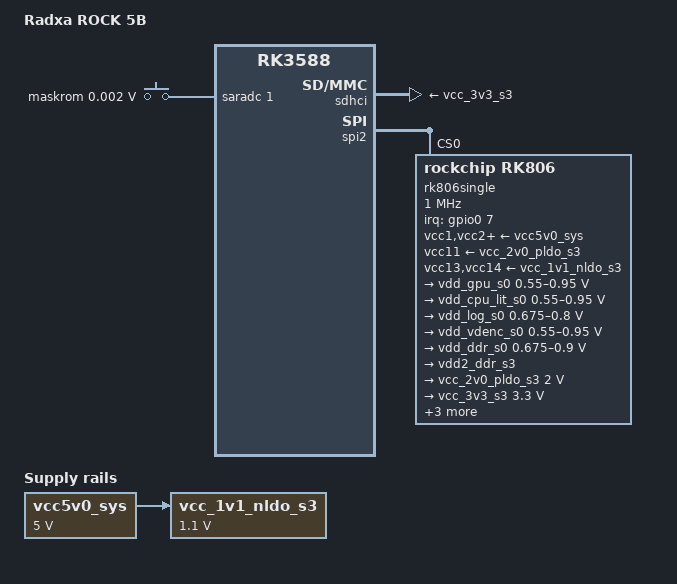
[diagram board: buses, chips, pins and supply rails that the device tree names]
// SPDX-License-Identifier: (GPL-2.0+ OR MIT)
/*
 * Copyright (c) 2022 Radxa Limited
 * Copyright (c) 2021 Rockchip Electronics Co., Ltd
 *
 */

/dts-v1/;
#include "rk3588.dtsi"
#include "rk3588-u-boot.dtsi"
#include <dt-bindings/input/input.h>

/ {
	model = "Radxa ROCK 5B";
	compatible = "radxa,rock-5b", "rockchip,rk3588";

	vcc5v0_sys: vcc5v0-sys-regulator {
		compatible = "regulator-fixed";
		regulator-name = "vcc5v0_sys";
		regulator-always-on;
		regulator-boot-on;
		regulator-min-microvolt = <5000000>;
		regulator-max-microvolt = <5000000>;
	};

	vcc_1v1_nldo_s3: vcc-1v1-nldo-s3-regulator {
		compatible = "regulator-fixed";
		regulator-name = "vcc_1v1_nldo_s3";
		regulator-always-on;
		regulator-boot-on;
		regulator-min-microvolt = <1100000>;
		regulator-max-microvolt = <1100000>;
		vin-supply = <&vcc5v0_sys>;
	};

	adc-keys {
		compatible = "adc-keys";
		io-channels = <&saradc 1>;
		io-channel-names = "buttons";
		keyup-threshold-microvolt = <1800000>;
		u-boot,dm-pre-reloc;
		status = "okay";

		maskrom-key {
			u-boot,dm-pre-reloc;
			linux,code = <KEY_VENDOR>;
			label = "maskrom";
			press-threshold-microvolt = <1750>;
		};
	};
};

&sdhci {
	vmmc-supply = <&vcc_3v3_s3>;
	vqmmc-supply = <&vccio_sd_s0>;
};

&spi2 {
	status = "okay";
	assigned-clocks = <&cru CLK_SPI2>;
	assigned-clock-rates = <200000000>;
	pinctrl-names = "default";
	pinctrl-0 = <&spi2m2_cs0 &spi2m2_pins>;
	num-cs = <1>;

	rk806single: rk806single@0 {
		compatible = "rockchip,rk806";
		spi-max-frequency = <1000000>;
		reg = <0x0>;
		u-boot,dm-pre-reloc;

		interrupt-parent = <&gpio0>;
		interrupts = <7 IRQ_TYPE_LEVEL_LOW>;

		pinctrl-names = "default", "pmic-power-off";
		pinctrl-0 = <&pmic_pins>, <&rk806_dvs1_null>,
			    <&rk806_dvs2_null>, <&rk806_dvs3_null>;
		pinctrl-1 = <&rk806_dvs1_pwrdn>;

		low_voltage_threshold = <3000>;
		shutdown_voltage_threshold = <2700>;
		shutdown_temperture_threshold = <160>;
		hotdie_temperture_threshold = <115>;
		pmic-reset-func = <1>;

		vcc1-supply = <&vcc5v0_sys>;
		vcc2-supply = <&vcc5v0_sys>;
		vcc3-supply = <&vcc5v0_sys>;
		vcc4-supply = <&vcc5v0_sys>;
		vcc5-supply = <&vcc5v0_sys>;
		vcc6-supply = <&vcc5v0_sys>;
		vcc7-supply = <&vcc5v0_sys>;
		vcc8-supply = <&vcc5v0_sys>;
		vcc9-supply = <&vcc5v0_sys>;
		vcc10-supply = <&vcc5v0_sys>;
		vcc11-supply = <&vcc_2v0_pldo_s3>;
		vcc12-supply = <&vcc5v0_sys>;
		vcc13-supply = <&vcc_1v1_nldo_s3>;
		vcc14-supply = <&vcc_1v1_nldo_s3>;
		vcca-supply = <&vcc5v0_sys>;

		pinctrl_rk806: pinctrl_rk806 {
			gpio-controller;
			#gpio-cells = <2>;

			rk806_dvs1_null: rk806_dvs1_null {
				pins = "gpio_pwrctrl2";
				function = "pin_fun0";
			};

			rk806_dvs1_pwrdn: rk806_dvs1_pwrdn {
				pins = "gpio_pwrctrl1";
				function = "pin_fun2";
			};

			rk806_dvs2_null: rk806_dvs2_null {
				pins = "gpio_pwrctrl2";
				function = "pin_fun0";
			};

			rk806_dvs3_null: rk806_dvs3_null {
				pins = "gpio_pwrctrl3";
				function = "pin_fun0";
			};
		};

		regulators {
			vdd_gpu_s0: vdd_gpu_mem_s0: DCDC_REG1 {
				regulator-boot-on;
				regulator-min-microvolt = <550000>;
				regulator-max-microvolt = <950000>;
				regulator-ramp-delay = <12500>;
				regulator-name = "vdd_gpu_s0";
				regulator-enable-ramp-delay = <400>;
				regulator-state-mem {
					regulator-off-in-suspend;
				};
			};

			vdd_cpu_lit_s0: vdd_cpu_lit_mem_s0: DCDC_REG2 {
				regulator-always-on;
				regulator-boot-on;
				regulator-min-microvolt = <550000>;
				regulator-max-microvolt = <950000>;
				regulator-ramp-delay = <12500>;
				regulator-name = "vdd_cpu_lit_s0";
				regulator-state-mem {
					regulator-off-in-suspend;
				};
			};

			vdd_log_s0: DCDC_REG3 {
				regulator-always-on;
				regulator-boot-on;
				regulator-min-microvolt = <675000>;
				regulator-max-microvolt = <800000>;
				regulator-ramp-delay = <12500>;
				regulator-name = "vdd_log_s0";
				regulator-state-mem {
					regulator-off-in-suspend;
					regulator-suspend-microvolt = <750000>;
				};
			};

			vdd_vdenc_s0: vdd_vdenc_mem_s0: DCDC_REG4 {
				regulator-always-on;
				regulator-boot-on;
				regulator-min-microvolt = <550000>;
				regulator-max-microvolt = <950000>;
				regulator-init-microvolt = <750000>;
				regulator-ramp-delay = <12500>;
				regulator-name = "vdd_vdenc_s0";
				regulator-state-mem {
					regulator-off-in-suspend;
				};
			};

			vdd_ddr_s0: DCDC_REG5 {
				regulator-always-on;
				regulator-boot-on;
				regulator-min-microvolt = <675000>;
				regulator-max-microvolt = <900000>;
				regulator-ramp-delay = <12500>;
				regulator-name = "vdd_ddr_s0";
				regulator-state-mem {
					regulator-off-in-suspend;
					regulator-suspend-microvolt = <850000>;
				};
			};

			vdd2_ddr_s3: DCDC_REG6 {
				regulator-always-on;
				regulator-boot-on;
				regulator-name = "vdd2_ddr_s3";
				regulator-state-mem {
					regulator-on-in-suspend;
				};
			};

			vcc_2v0_pldo_s3: DCDC_REG7 {
				regulator-always-on;
				regulator-boot-on;
				regulator-min-microvolt = <2000000>;
				regulator-max-microvolt = <2000000>;
				regulator-name = "vdd_2v0_pldo_s3";
				regulator-state-mem {
					regulator-on-in-suspend;
					regulator-suspend-microvolt = <2000000>;
				};
			};

			vcc_3v3_s3: DCDC_REG8 {
				regulator-always-on;
				regulator-boot-on;
				regulator-min-microvolt = <3300000>;
				regulator-max-microvolt = <3300000>;
				regulator-name = "vcc_3v3_s3";
				regulator-state-mem {
					regulator-on-in-suspend;
					regulator-suspend-microvolt = <3300000>;
				};
			};

			vddq_ddr_s0: DCDC_REG9 {
				regulator-always-on;
				regulator-boot-on;
				regulator-name = "vddq_ddr_s0";
				regulator-state-mem {
					regulator-off-in-suspend;
				};
			};

			vcc_1v8_s3: DCDC_REG10 {
				regulator-always-on;
				regulator-boot-on;
				regulator-min-microvolt = <1800000>;
				regulator-max-microvolt = <1800000>;
				regulator-name = "vcc_1v8_s3";
				regulator-state-mem {
					regulator-on-in-suspend;
					regulator-suspend-microvolt = <1800000>;
				};
			};

			avcc_1v8_s0: PLDO_REG1 {
				regulator-always-on;
				regulator-boot-on;
				regulator-min-microvolt = <1800000>;
				regulator-max-microvolt = <1800000>;
				regulator-name = "avcc_1v8_s0";
				regulator-state-mem {
					regulator-off-in-suspend;
				};
			};

			vcc_1v8_s0: PLDO_REG2 {
				regulator-always-on;
				regulator-boot-on;
				regulator-min-microvolt = <1800000>;
				regulator-max-microvolt = <1800000>;
				regulator-name = "vcc_1v8_s0";
				regulator-state-mem {
					regulator-off-in-suspend;
					regulator-suspend-microvolt = <1800000>;
				};
			};

			avdd_1v2_s0: PLDO_REG3 {
				regulator-always-on;
				regulator-boot-on;
				regulator-min-microvolt = <1200000>;
				regulator-max-microvolt = <1200000>;
				regulator-name = "avdd_1v2_s0";
				regulator-state-mem {
					regulator-off-in-suspend;
				};
			};

			vcc_3v3_s0: PLDO_REG4 {
				regulator-always-on;
				regulator-boot-on;
				regulator-min-microvolt = <3300000>;
				regulator-max-microvolt = <3300000>;
				regulator-name = "vcc_3v3_s0";
				regulator-state-mem {
					regulator-off-in-suspend;
				};
			};

			vccio_sd_s0: PLDO_REG5 {
				regulator-always-on;
				regulator-boot-on;
				regulator-min-microvolt = <1800000>;
				regulator-max-microvolt = <3300000>;
				regulator-name = "vccio_sd_s0";
				regulator-state-mem {
					regulator-off-in-suspend;
				};
			};

			pldo6_s3: PLDO_REG6 {
				regulator-always-on;
				regulator-boot-on;
				regulator-min-microvolt = <1800000>;
				regulator-max-microvolt = <1800000>;
				regulator-name = "pldo6_s3";
				regulator-state-mem {
					regulator-on-in-suspend;
					regulator-suspend-microvolt = <1800000>;
				};
			};

			vdd_0v75_s3: NLDO_REG1 {
				regulator-always-on;
				regulator-boot-on;
				regulator-min-microvolt = <750000>;
				regulator-max-microvolt = <750000>;
				regulator-name = "vdd_0v75_s3";
				regulator-state-mem {
					regulator-on-in-suspend;
					regulator-suspend-microvolt = <750000>;
				};
			};

			vdd_ddr_pll_s0: NLDO_REG2 {
				regulator-always-on;
				regulator-boot-on;
				regulator-min-microvolt = <850000>;
				regulator-max-microvolt = <850000>;
				regulator-name = "vdd_ddr_pll_s0";
				regulator-state-mem {
					regulator-off-in-suspend;
					regulator-suspend-microvolt = <850000>;
				};
			};

			avdd_0v75_s0: NLDO_REG3 {
				regulator-always-on;
				regulator-boot-on;
				regulator-min-microvolt = <837500>;
				regulator-max-microvolt = <837500>;
				regulator-name = "avdd_0v75_s0";
				regulator-state-mem {
					regulator-off-in-suspend;
				};
			};

			vdd_0v85_s0: NLDO_REG4 {
				regulator-always-on;
				regulator-boot-on;
				regulator-min-microvolt = <850000>;
				regulator-max-microvolt = <850000>;
				regulator-name = "vdd_0v85_s0";
				regulator-state-mem {
					regulator-off-in-suspend;
				};
			};

			vdd_0v75_s0: NLDO_REG5 {
				regulator-always-on;
				regulator-boot-on;
				regulator-min-microvolt = <750000>;
				regulator-max-microvolt = <750000>;
				regulator-name = "vdd_0v75_s0";
				regulator-state-mem {
					regulator-off-in-suspend;
				};
			};
		};
	};
};
